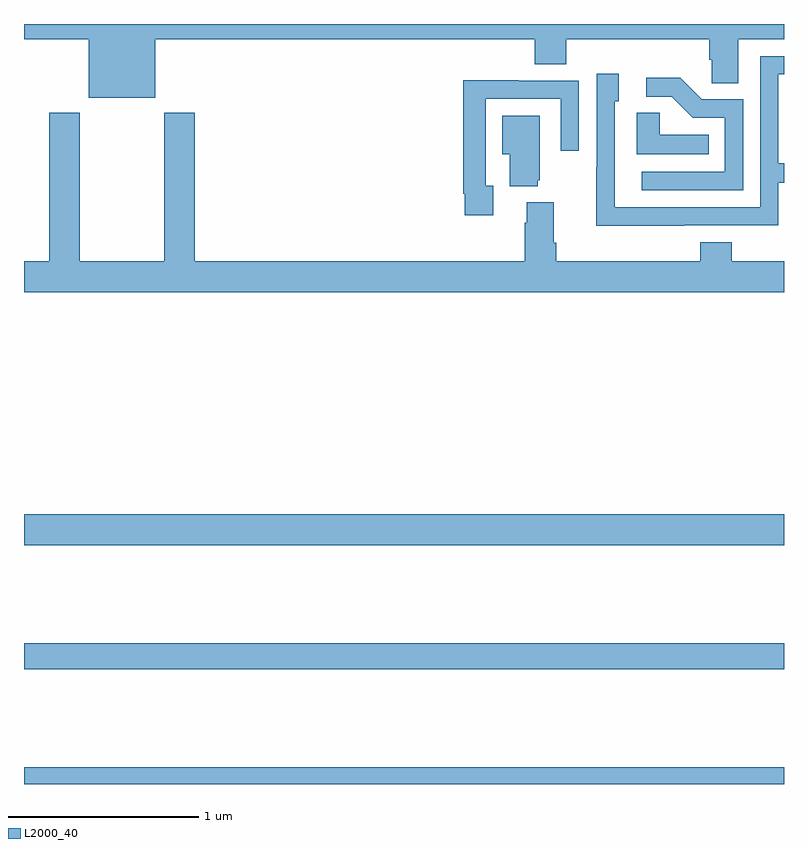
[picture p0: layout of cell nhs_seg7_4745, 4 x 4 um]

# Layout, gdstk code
import gdstk
lib = gdstk.Library(unit=1e-6, precision=1e-09)
def R(c, l, rs):  # rectangles x0, y0, x1, y1
    for r in rs: c.add(gdstk.rectangle(r[:2], r[2:], *l))
def P(c, l, *ps):  # polygons
    for p in ps: c.add(gdstk.Polygon(p, *l))
L2000_40 = (2000, 40)

nhs_seg7_4745 = lib.new_cell('nhs_seg7_4745')
R(nhs_seg7_4745, L2000_40, [(409,1026,413,1026.088), (409,1026.604,413,1026.74), (409,1027.256,413,1027.42)])
P(nhs_seg7_4745, L2000_40, [(409.69,1029.92),(411.689,1029.92),(411.689,1029.787),(411.854,1029.787),(411.854,1029.92),(412.607,1029.92),(412.607,1029.811),(412.62,1029.811),(412.62,1029.688),(412.759,1029.688),(412.759,1029.92),(413,1029.92),(413,1030),(409,1030),(409,1029.92),(409.34,1029.92),(409.34,1029.611),(409.69,1029.611)],
  [(412.475,1028.94),(412.971,1028.94),(412.971,1029.165),(413,1029.165),(413,1029.266),(412.971,1029.266),(412.971,1029.735),(413,1029.735),(413,1029.831),(412.875,1029.831),(412.875,1029.036),(412.11,1029.036),(412.11,1029.594),(412.129,1029.594),(412.129,1029.739),(412.014,1029.739),(412.014,1029.245),(412.012,1029.245),(412.012,1028.939),(412.475,1028.939)],
  [(412.785,1029.603),(412.566,1029.603),(412.453,1029.716),(412.275,1029.716),(412.275,1029.618),(412.409,1029.618),(412.52,1029.507),(412.689,1029.507),(412.689,1029.222),(412.251,1029.222),(412.251,1029.126),(412.785,1029.126)],
  [(411.469,1029.15),(411.429,1029.15),(411.429,1029.606),(411.825,1029.606),(411.825,1029.333),(411.921,1029.333),(411.921,1029.702),(411.605,1029.702),(411.605,1029.704),(411.313,1029.704),(411.313,1029.106),(411.321,1029.106),(411.321,1028.994),(411.469,1028.994)],
  [(412.604,1029.418),(412.347,1029.418),(412.347,1029.533),(412.226,1029.533),(412.226,1029.314),(412.604,1029.314)],
  [(413,1028.752),(412.724,1028.752),(412.724,1028.851),(412.559,1028.851),(412.559,1028.752),(411.8,1028.752),(411.8,1028.848),(411.787,1028.848),(411.787,1029.061),(411.647,1029.061),(411.647,1028.954),(411.635,1028.954),(411.635,1028.752),(409.898,1028.752),(409.898,1029.532),(409.738,1029.532),(409.738,1028.752),(409.293,1028.752),(409.293,1029.532),(409.133,1029.532),(409.133,1028.752),(409,1028.752),(409,1028.588),(413,1028.588)],
  [(411.704,1029.177),(411.715,1029.177),(411.715,1029.517),(411.518,1029.517),(411.518,1029.314),(411.557,1029.314),(411.557,1029.146),(411.704,1029.146)])

lib.write_gds('nhs_seg7_4745.gds')
